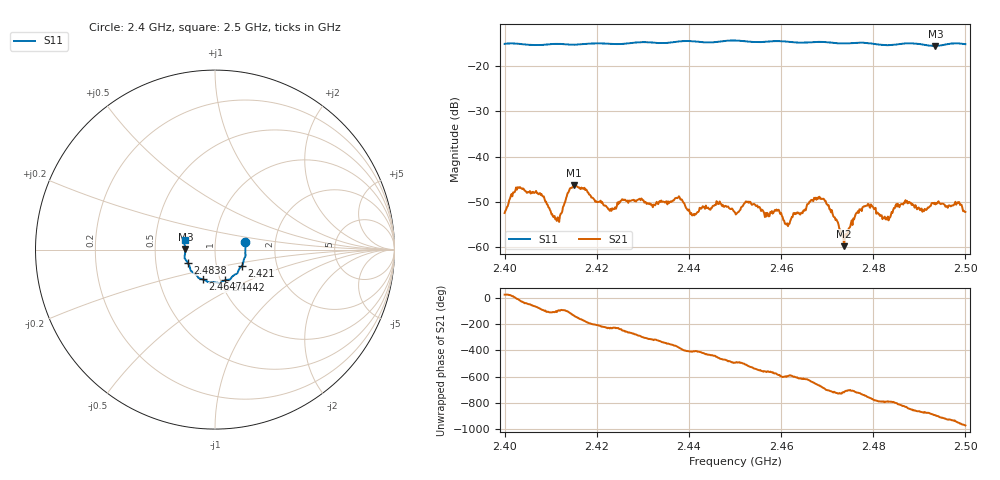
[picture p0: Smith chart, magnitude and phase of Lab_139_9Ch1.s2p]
# Hz S RI R 50
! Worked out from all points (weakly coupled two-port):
!   601 points, 2.4 GHz to 2.5 GHz, reference 50 ohm
!   highest |S21| = -46.24 dB at 2.415 GHz (marker M1); lowest = -59.7 dB at 2.4737 GHz (marker M2)
!   lowest |S11| = -15.7 dB at 2.4935 GHz (marker M3), VSWR 1.39, Z = 35.9 + j0.184 ohm
!   |S11| at or under -10 dB: start of sweep to end of sweep
!   S12 and S22 are empty: the file has one direction only
!   S11 on the Smith chart (normalised r, x): 2.4 GHz: 1.40, +0.12; 2.421 GHz: 1.33, -0.24; 2.4442 GHz: 1.05, -0.37; 2.4647 GHz: 0.83, -0.28; 2.4838 GHz: 0.73, -0.11; 2.5 GHz: 0.71, +0.08
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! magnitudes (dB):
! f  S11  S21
! 2.4 GHz  -15.2  -52.4
! 2.4033 GHz  -15.2  -46.7
! 2.408 GHz  -15.5  -48.3
! 2.4115 GHz  -15.2  -53.4
! 2.415 GHz  -15.4  -46.2
! 2.4167 GHz  -15.3  -46.8
! 2.421 GHz  -15.1  -50.2
! 2.4333 GHz  -15.0  -50.5
! 2.4442 GHz  -14.9  -51.2
! 2.45 GHz  -14.5  -52.3
! 2.4528 GHz  -14.7  -49.9
! 2.4613 GHz  -14.7  -54.7
! 2.4647 GHz  -14.9  -52.5
! 2.4667 GHz  -14.8  -49.5
! 2.4695 GHz  -14.8  -49.8
! 2.4737 GHz  -15.1  -59.7
! 2.4785 GHz  -15.0  -50.8
! 2.4833 GHz  -15.5  -54.1
! 2.4838 GHz  -15.5  -52.9
! 2.4868 GHz  -15.1  -50.2
! 2.4935 GHz  -15.7  -50.5
! 2.5 GHz  -15.3  -52.2
